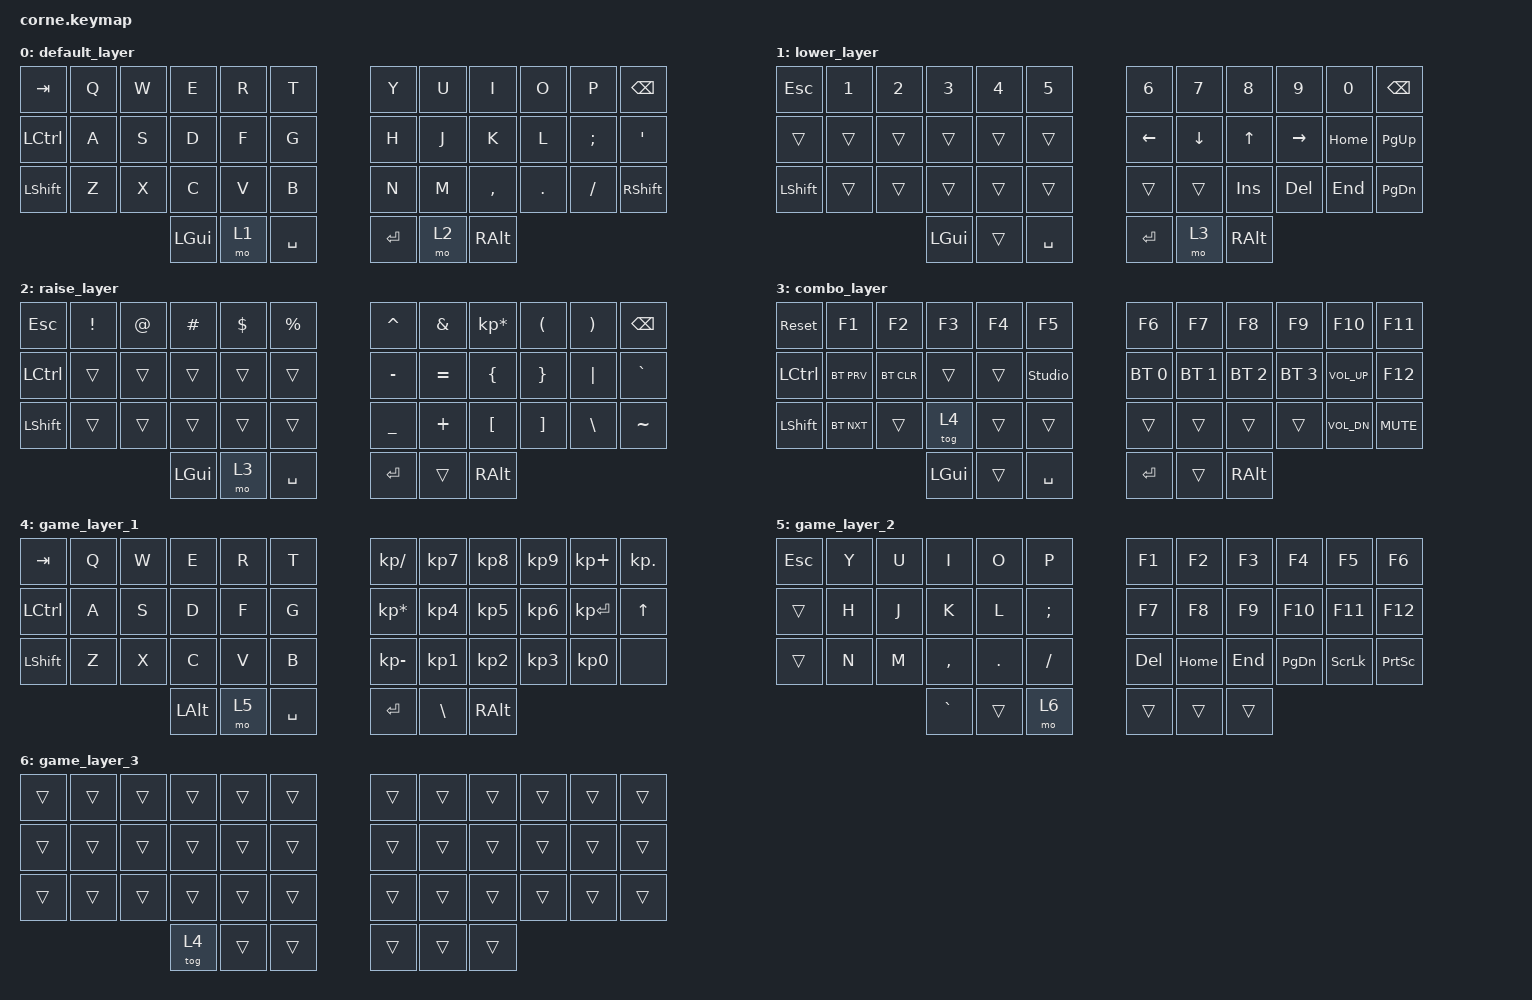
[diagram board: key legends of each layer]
/*
 * SPDX-License-Identifier: MIT
 */

#include <behaviors.dtsi>
#include <dt-bindings/zmk/keys.h>
#include <dt-bindings/zmk/bt.h>

/ {
    keymap {
        compatible = "zmk,keymap";

        default_layer {
            // -----------------------------------------------------------------------------------------
            // |  TAB |  Q  |  W  |  E  |  R  |  T  |   |  Y  |  U   |  I  |  O  |  P  | BKSP |
            // | CTRL |  A  |  S  |  D  |  F  |  G  |   |  H  |  J   |  K  |  L  |  ;  |  '   |
            // | SHFT |  Z  |  X  |  C  |  V  |  B  |   |  N  |  M   |  ,  |  .  |  /  | SHFT |
            //                    | GUI | LWR | SPC |   | ENT | RSE  | RALT|

            bindings = <
   &kp TAB   &kp Q   &kp W     &kp E   &kp R      &kp T    &kp Y   &kp U      &kp I    &kp O     &kp P   &kp BSPC
 &kp LCTRL   &kp A   &kp S     &kp D   &kp F      &kp G    &kp H   &kp J      &kp K    &kp L  &kp SEMI    &kp SQT
 &kp LSHFT   &kp Z   &kp X     &kp C   &kp V      &kp B    &kp N   &kp M  &kp COMMA  &kp DOT  &kp FSLH  &kp RSHFT
                            &kp LGUI   &mo 1  &kp SPACE  &kp RET   &mo 2   &kp RALT
            >;
        };

        lower_layer {
            // -----------------------------------------------------------------------------------------
            // |  ESC |  1  |  2  |  3  |  4  |  5  |   |  6  |  7  |  8  |  9  |  0   | BKSP  |
            // | BTCLR|     |     |     |     |     |   | LFT | DWN |  UP | RGT | HOME | PG_UP |
            // | SHFT |     |     |     |     |     |   |     |     |     | INS | END  | PG_DN |
            //                    | GUI |     | SPC |   | ENT |     | RALT|

            bindings = <
   &kp ESC   &kp N1  &kp N2    &kp N3  &kp N4     &kp N5    &kp N6    &kp N7    &kp N8   &kp N9    &kp N0   &kp BSPC
   &trans    &trans  &trans    &trans  &trans     &trans    &kp LEFT  &kp DOWN  &kp UP   &kp RIGHT &kp HOME &kp PG_UP
   &kp LSHFT &trans  &trans    &trans  &trans     &trans    &trans    &trans    &kp INS  &kp DEL   &kp END  &kp PG_DN
                            &kp LGUI  &trans  &kp SPACE   &kp RET     &mo 3  &kp RALT
            >;
        };

        raise_layer {
            // -----------------------------------------------------------------------------------------
            // |  ESC |  !  |  @  |  #  |  $  |  %  |   |  ^  |  &  |  *  |  (  |  )  | BKSP |
            // | CTRL |     |     |     |     |     |   |  -  |  =  |  {  |  }  | "|" |  `   |
            // | SHFT |     |     |     |     |     |   |  _  |  +  |  [  |  ]  |  \  |  ~   | // TODO: Fix this row when &mkp is committed
            //                    | GUI |     | SPC |   | ENT |     | ALT |

            bindings = <
   &kp ESC  &kp EXCL  &kp AT  &kp HASH  &kp DLLR  &kp PRCNT  &kp CARET   &kp AMPS  &kp KP_MULTIPLY  &kp LPAR  &kp RPAR   &kp BSPC
 &kp LCTRL    &trans  &trans    &trans    &trans     &trans  &kp MINUS  &kp EQUAL         &kp LBRC  &kp RBRC  &kp PIPE  &kp GRAVE
 &kp LSHFT    &trans  &trans    &trans    &trans     &trans  &kp UNDER   &kp PLUS         &kp LBKT  &kp RBKT  &kp BSLH  &kp TILDE
                              &kp LGUI     &mo 3  &kp SPACE    &kp RET     &trans         &kp RALT
            >;
        };

        combo_layer {
            // -----------------------------------------------------------------------------------------
            // | RESET|  F1  |  F2  |  F3 |  F4 |  F5 |    |  F6      |  F7      |  F8      |  F9      | F10 |  F11 |
            // | CTRL |BT_PRV|BT_CLR|     |     |     |    | BT_SEL 0 | BT_SEL 1 | BT_SEL 2 | BT_SEL 3 |VOLUP|  F12 |
            // | SHFT |BT_NXT|      |  T4 |     |     |    |          |          |          |          |VOLDN| MUTE |
            //                      | GUI |     | SPC |    | ENT      |          | RALT     |

            bindings = <
 &sys_reset     &kp F1      &kp F2      &kp F3  &kp F4     &kp F5         &kp F6        &kp F7        &kp F8        &kp F9        &kp F10       &kp F11
 &kp LCTRL  &bt BT_PRV  &bt BT_CLR  &trans  &trans     &studio_unlock         &bt BT_SEL 0  &bt BT_SEL 1  &bt BT_SEL 2  &bt BT_SEL 3  &kp C_VOL_UP  &kp F12
 &kp LSHFT  &bt BT_NXT  &trans      &tog 4  &trans     &trans         &trans        &trans        &trans        &trans        &kp C_VOL_DN  &kp C_MUTE
                                    &kp LGUI  &trans  &kp SPACE       &kp RET        &trans      &kp RALT
            >;
        };

        game_layer_1 {
	    // -----------------------------------------------------------------------------------------
            // |  TAB |  Q  |  W  |  E  |  R  |  T  |   |  KP/ |  KP7 |  KP8 |  KP9 |  KP+   | KP. |
            // | CTRL |  A  |  S  |  D  |  F  |  G  |   |  KP* |  KP4 |  KP5 |  KP6 |  KPENT | UP  |
            // | SHFT |  Z  |  X  |  C  |  V  |  B  |   |  KP- |  KP1 |  KP2 |  KP3 |  KP0   |     |
            //                    | LALT| GL2 | SPC |   |  ENT |  \   |  RALT|

            bindings = <
 &kp TAB        &kp Q   &kp W    &kp E     &kp R   &kp T          &kp KP_SLASH    &kp KP_N7      &kp KP_N8  &kp KP_N9   &kp KP_PLUS    &kp KP_DOT
 &kp LCTRL      &kp A   &kp S    &kp D     &kp F   &kp G          &kp KP_MULTIPLY &kp KP_N4      &kp KP_N5  &kp KP_N6   &kp KP_ENTER   &kp UP_ARROW
 &kp LEFT_SHIFT &kp Z   &kp X    &kp C     &kp V   &kp B          &kp KP_MINUS    &kp KP_N1      &kp KP_N2  &kp KP_N3   &kp KP_N0      &none
                                 &kp LALT  &mo 5   &kp SPACE      &kp ENTER       &kp BACKSLASH  &kp RALT
            >;
        };

        game_layer_2 {
	    // -----------------------------------------------------------------------------------------
            // | ESC  |  Y  |  U  |  I  |  O  |  P  |   |  F1  | F2   |  F2  | F4    | F5      | F6   |
            // | CTRL |  H  |  J  |  K  |  L  |  ;  |   |  F7  | F8   |  F9  | F10   | F11     | F12  |
            // | SHFT |  N  |  M  |  ,  |  .  |  /  |   |  DEL | HOME |  END | PG_DN | SCRL_LK | PRNT |
            //                    | `   |     | GL3 |   |  ENT |  \   |  RALT|

            bindings = <
  &kp ESC  &kp Y   &kp U   &kp I       &kp O      &kp P       &kp F1    &kp F2   &kp F3   &kp F4         &kp F5          &kp F6
  &trans   &kp H   &kp J   &kp K       &kp L      &kp SEMI    &kp F7    &kp F8   &kp F9   &kp F10        &kp F11         &kp F12
  &trans   &kp N   &kp M   &kp COMMA   &kp PERIOD &kp SLASH   &kp DEL   &kp HOME &kp END  &kp PAGE_DOWN  &kp SCROLLLOCK  &kp PRINTSCREEN
                           &kp GRAVE   &trans     &mo 6       &trans    &trans   &trans
            >;
        };

        game_layer_3 {
            bindings = <
 &trans  &trans  &trans  &trans  &trans  &trans  &trans  &trans  &trans  &trans  &trans  &trans
 &trans  &trans  &trans  &trans  &trans  &trans  &trans  &trans  &trans  &trans  &trans  &trans
 &trans  &trans  &trans  &trans  &trans  &trans  &trans  &trans  &trans  &trans  &trans  &trans
                         &tog 4  &trans  &trans  &trans  &trans  &trans
            >;
        };
    };
};
